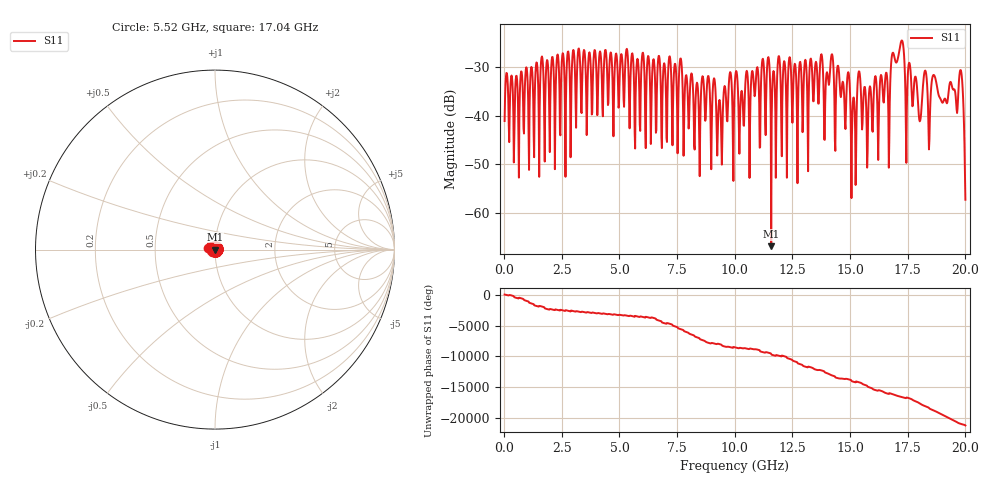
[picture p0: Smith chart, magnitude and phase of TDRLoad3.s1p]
! File created by SignalIntegrity v1.3.3: Signal and Power Integrity Tools
! https://github.com/TeledyneLeCroy/SignalIntegrity
# MHz S MA R 50.0
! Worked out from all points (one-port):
!   1000 points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, 20 MHz to 20 GHz, reference 50 ohm
!   lowest |S11| = -66.8 dB at 11.58 GHz (marker M1), VSWR 1.00, Z = 50 + j0.0455 ohm
!   |S11| at or under -10 dB: start of sweep to end of sweep
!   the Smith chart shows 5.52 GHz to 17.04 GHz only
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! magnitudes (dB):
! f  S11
! 20 MHz  -41.1
! 2.52 GHz  -27.7
! 5.02 GHz  -30.7
! 7.52 GHz  -47.7
! 9.1 GHz  -32.3
! 9.34 GHz  -36.8
! 10.02 GHz  -32.1
! 11.46 GHz  -28.0
! 11.58 GHz  -66.8
! 12.52 GHz  -37.4
! 13.76 GHz  -27.4
! 13.96 GHz  -32.3
! 14.2 GHz  -27.4
! 15.02 GHz  -39.2
! 15.16 GHz  -36.3
! 15.4 GHz  -30.9
! 15.72 GHz  -42.6
! 16.66 GHz  -39.8
! 16.86 GHz  -27.1
! 17.22 GHz  -24.7
! 17.52 GHz  -30.4
! 18.04 GHz  -41.0
! 18.24 GHz  -30.8
! 18.44 GHz  -45.0
! 18.62 GHz  -31.6
! 19.1 GHz  -36.5
! 19.8 GHz  -30.7
! 20 GHz  -57.3
